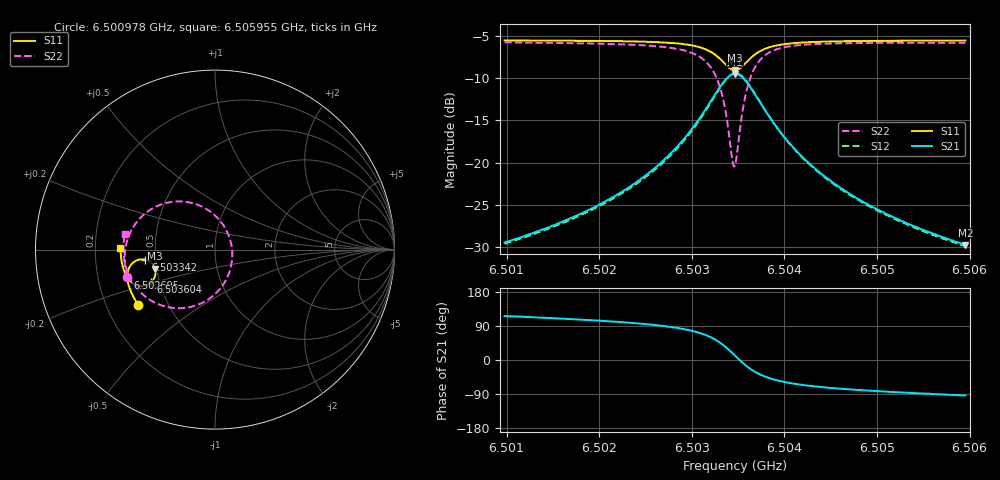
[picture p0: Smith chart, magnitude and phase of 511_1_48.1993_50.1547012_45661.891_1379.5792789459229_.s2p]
#  HZ  S  RI  R  50.00
! Rohde & Schwarz Vector Network Analyzer
! Rohde-Schwarz,ZNB20-2Port,1311601062101988,3.16
! Created: UTC 3/20/2024, 11:58:58 AM
! freq[Hz]  re:S11  im:S11  re:S21  im:S21  re:S12  im:S12  re:S22  im:S22
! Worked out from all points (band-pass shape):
!   401 points, 6.500978 GHz to 6.505955 GHz, reference 50 ohm
!   highest |S21| = -9.51 dB at 6.503467 GHz (marker M1); lowest = -29.7 dB at 6.505955 GHz (marker M2)
!   |S21| within 3 dB of the highest: 6.503218 GHz to 6.503716 GHz (497.9 kHz wide, 0.00766 % of centre)
!   lowest |S11| = -9.1 dB at 6.503467 GHz (marker M3), VSWR 2.08, Z = 24.5 - j5.89 ohm
!   |S11| at or under -10 dB: nowhere
!   |S22| runs from -20.5 to -5.8 dB; largest |S21 - S12| = 0.011
!   S11 on the Smith chart (normalised r, x): 6.500978 GHz: 0.34, -0.29; 6.502695 GHz: 0.33, -0.14; 6.503342 GHz: 0.44, -0.06; 6.503604 GHz: 0.45, -0.19; 6.505955 GHz: 0.31, +0.01
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6.5009782e9  -0.4273 -0.3088  -0.0148 0.0304  -0.0132 0.0305  -0.4902 -0.153
6.5018119e9  -0.463 -0.247  -0.0142 0.0483  -0.0119 0.0479  -0.5029 -0.064
6.5022723e9  -0.4792 -0.2059  -0.0112 0.068  -0.00829 0.0669  -0.4996 0.00189
6.5026456e9  -0.488 -0.1643  -0.00193 0.0976  0.00143 0.0954  -0.4797 0.0774
6.5026954e9  -0.4885 -0.1577  0.000515 0.1034  0.00388 0.1009  -0.4744 0.09
6.5029567e9  -0.4841 -0.1164  0.0268 0.1447  0.0303 0.1404  -0.4196 0.173
6.5031433e9  -0.4624 -0.078  0.0818 0.1873  0.0838 0.1813  -0.3147 0.2459
6.5032553e9  -0.4294 -0.0573  0.1517 0.205  0.1522 0.1993  -0.1887 0.2684
6.5033424e9  -0.3881 -0.0555  0.2325 0.1886  0.2324 0.1842  -0.0499 0.2272
6.5034295e9  -0.3455 -0.084  0.3101 0.1153  0.3126 0.1117  0.0744 0.0834
6.5034544e9  -0.3375 -0.098  0.3235 0.0838  0.3269 0.0795  0.0918 0.0242
6.5034668e9  -0.3347 -0.1056  0.3279 0.0671  0.3315 0.0624  0.0957 -0.0067
6.5034917e9  -0.3317 -0.1216  0.3317 0.0328  0.3355 0.0269  0.0936 -0.0693
6.503529e9  -0.3335 -0.1454  0.3246 -0.0168  0.3283 -0.025  0.0673 -0.1574
6.5036037e9  -0.3555 -0.1822  0.2789 -0.0927  0.2792 -0.1036  -0.0408 -0.2798
6.5037032e9  -0.3959 -0.2016  0.2016 -0.136  0.1973 -0.1457  -0.198 -0.3267
6.503865e9  -0.4447 -0.1941  0.1144 -0.1358  0.1078 -0.1412  -0.3565 -0.2837
6.5040392e9  -0.4738 -0.1729  0.067 -0.1155  0.061 -0.1178  -0.4341 -0.2175
6.5043005e9  -0.4962 -0.1414  0.0343 -0.0891  0.0297 -0.0897  -0.4814 -0.1401
6.5046738e9  -0.5119 -0.1022  0.0151 -0.0655  0.0119 -0.0653  -0.504 -0.0649
6.5051341e9  -0.5214 -0.0594  0.005 -0.0488  0.00292 -0.048  -0.5103 0.000796
6.5059554e9  -0.5265 0.0104  -0.00206 -0.0326  -0.00333 -0.032  -0.5028 0.0882
